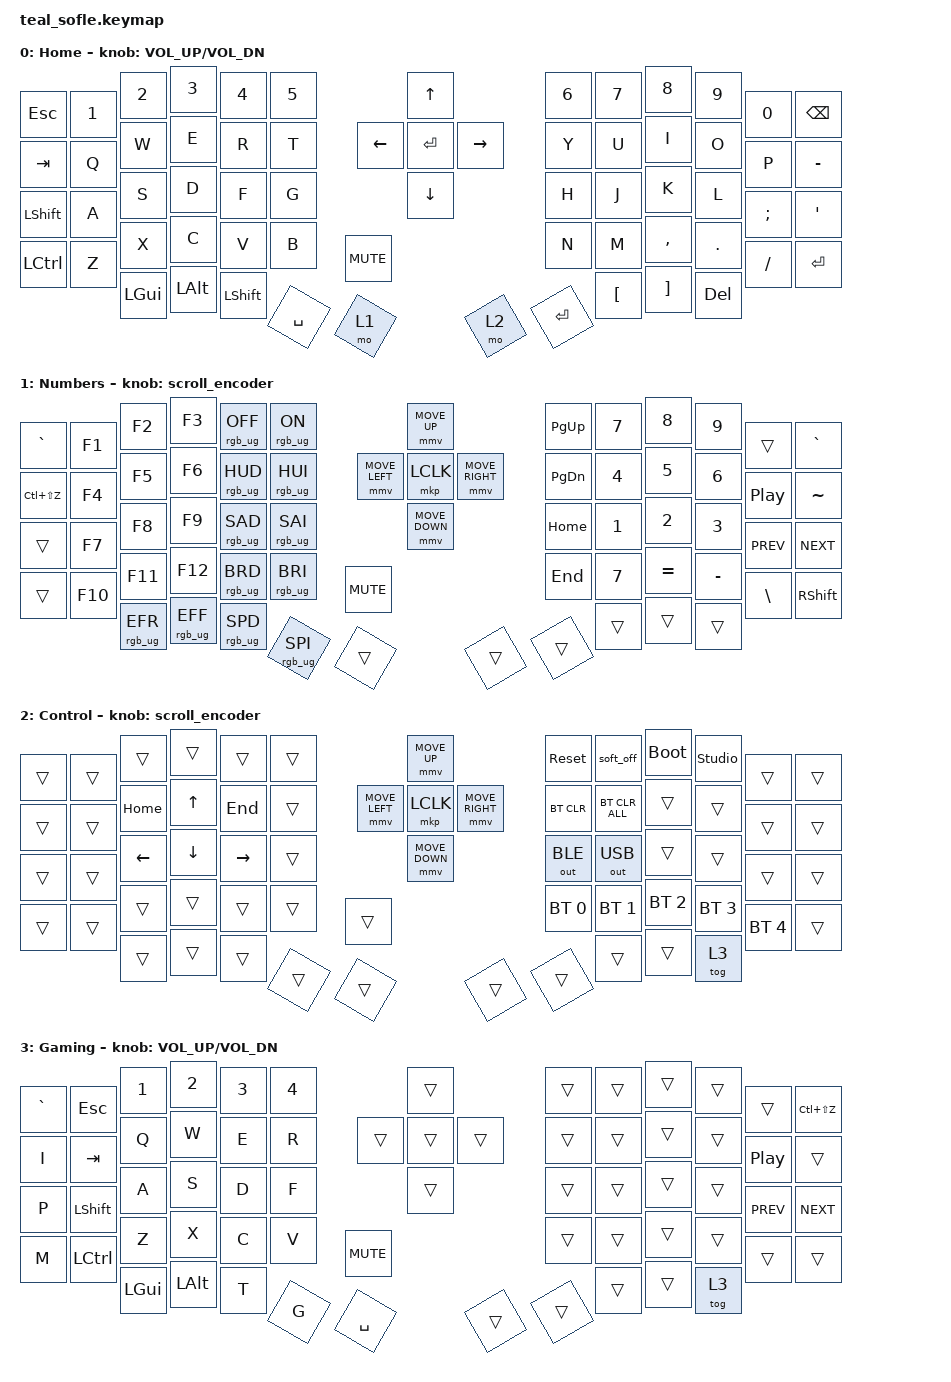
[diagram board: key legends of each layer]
#include <behaviors.dtsi>
#include <dt-bindings/zmk/bt.h>
#include <dt-bindings/zmk/keys.h>
#include <dt-bindings/zmk/mouse.h>
#include <dt-bindings/zmk/outputs.h>
#include <dt-bindings/zmk/rgb.h>

#include <input/processors.dtsi>

/*

   &mmv_input_listener {
       input-processors = <&zip_xy_scaler 2 1>;
   };

   &msc_input_listener {
       input-processors = <&zip_xy_scaler 2 1>;
   };

 */

#define ZMK_MOUSE_DEFAULT_MOVE_VAL 1200  // 600
#define ZMK_MOUSE_DEFAULT_SCRL_VAL 20    // 10


/ {
    behaviors {
        mmv {
            acceleration-exponent = <1>;      // 1
            time-to-max-speed-ms = <900>;    // 40
            delay-ms = <0>;                   // 0
        };

        msc {
            acceleration-exponent = <1>;      // 0
            time-to-max-speed-ms = <400>;      // 500
            delay-ms = <0>;                   //   10
        };
    };

    scroll_encoder: scroll_encoder {
        compatible = "zmk,behavior-sensor-rotate";
        #sensor-binding-cells = <0>;
        bindings = <&msc SCRL_DOWN>, <&msc SCRL_UP>;

        tap-ms = <30>;
    };

    keymap {
        compatible = "zmk,keymap";

        layer_0 {
            bindings = <
&kp ESC     &kp N1          &kp N2        &kp N3        &kp N4       &kp N5         &kp UP_ARROW        &kp N6     &kp N7     &kp N8            &kp N9              &kp N0      &kp BACKSPACE
&kp TAB     &kp Q           &kp W         &kp E         &kp R        &kp T          &kp DOWN_ARROW      &kp Y      &kp U      &kp I             &kp O               &kp P       &kp MINUS
&kp LSHFT   &kp A           &kp S         &kp D         &kp F        &kp G          &kp LEFT_ARROW      &kp H      &kp J      &kp K             &kp L               &kp SEMI    &kp APOS
&kp LCTRL   &kp Z           &kp X         &kp C         &kp V        &kp B          &kp RIGHT_ARROW     &kp N      &kp M      &kp COMMA         &kp DOT             &kp FSLH    &kp ENTER
&kp C_MUTE  &kp LEFT_GUI    &kp LEFT_ALT  &kp LSHFT     &kp SPACE    &mo 1          &kp ENTER           &mo 2      &kp ENTER  &kp LEFT_BRACKET  &kp RIGHT_BRACKET   &kp DELETE
            >;

            sensor-bindings = <&inc_dec_kp C_VOLUME_UP C_VOL_DN>;
            display-name = "Home";
        }; 

        layer_1 {
            bindings = <
&kp GRAVE       &kp F1          &kp F2          &kp F3          &rgb_ug RGB_OFF  &rgb_ug RGB_ON         &mmv MOVE_UP            &kp PG_UP       &kp N7  &kp N8      &kp N9      &trans          &kp GRAVE
&kp LC(LS(Z))   &kp F4          &kp F5          &kp F6          &rgb_ug RGB_HUD  &rgb_ug RGB_HUI        &mmv MOVE_DOWN          &kp PG_DN       &kp N4  &kp N5      &kp N6      &kp C_PP        &kp TILDE
&trans          &kp F7          &kp F8          &kp F9          &rgb_ug RGB_SAD  &rgb_ug RGB_SAI        &mmv MOVE_LEFT          &kp HOME        &kp N1  &kp N2      &kp N3      &kp C_PREV      &kp C_NEXT
&trans          &kp F10         &kp F11         &kp F12         &rgb_ug RGB_BRD  &rgb_ug RGB_BRI        &mmv MOVE_RIGHT         &kp END         &kp N7  &kp EQUAL   &kp MINUS   &kp BSLH        &kp RSHFT
&kp C_MUTE      &rgb_ug RGB_EFR &rgb_ug RGB_EFF &rgb_ug RGB_SPD &rgb_ug RGB_SPI  &trans                 &mkp LCLK               &trans          &trans  &trans      &trans      &trans
            >;

            display-name = "Numbers";
            sensor-bindings = <&scroll_encoder>;
        };

        layer_2 {
            bindings = <
&trans      &trans      &trans      &trans      &trans      &trans            &mmv MOVE_UP          &sys_reset      &soft_off       &bootloader     &studio_unlock  &trans        &trans
&trans      &trans      &kp HOME    &kp UP      &kp END     &trans            &mmv MOVE_DOWN        &bt BT_CLR      &bt BT_CLR_ALL  &trans          &trans          &trans        &trans
&trans      &trans      &kp LEFT    &kp DOWN    &kp RIGHT   &trans            &mmv MOVE_LEFT        &out OUT_BLE    &out OUT_USB    &trans          &trans          &trans        &trans
&trans      &trans      &trans      &trans      &trans      &trans            &mmv MOVE_RIGHT       &bt BT_SEL 0    &bt BT_SEL 1    &bt BT_SEL 2    &bt BT_SEL 3    &bt BT_SEL 4  &trans
&trans      &trans      &trans      &trans      &trans      &trans            &mkp LCLK             &trans          &trans          &trans          &trans          &tog 3
            >;

            display-name = "Control";
            sensor-bindings = <&scroll_encoder>;
        };

        layer_3 {
            bindings = <
&kp GRAVE  &kp ESC      &kp N1          &kp N2      &kp N3      &kp N4         &trans       &trans  &trans  &trans  &trans  &trans      &kp LC(LS(Z))
&kp I      &kp TAB      &kp Q           &kp W       &kp E       &kp R          &trans       &trans  &trans  &trans  &trans  &kp C_PP    &trans
&kp P      &kp LSHFT    &kp A           &kp S       &kp D       &kp F          &trans       &trans  &trans  &trans  &trans  &kp C_PREV  &kp C_NEXT
&kp M      &kp LCTRL    &kp Z           &kp X       &kp C       &kp V          &trans       &trans  &trans  &trans  &trans  &trans      &trans
&kp C_MUTE &kp LEFT_GUI &kp LEFT_ALT    &kp T       &kp G       &kp SPACE      &trans       &trans  &trans  &trans  &trans  &tog 3
            >;

            sensor-bindings = <&inc_dec_kp C_VOLUME_UP C_VOL_DN>;
            display-name = "Gaming";
        };
    };
};
